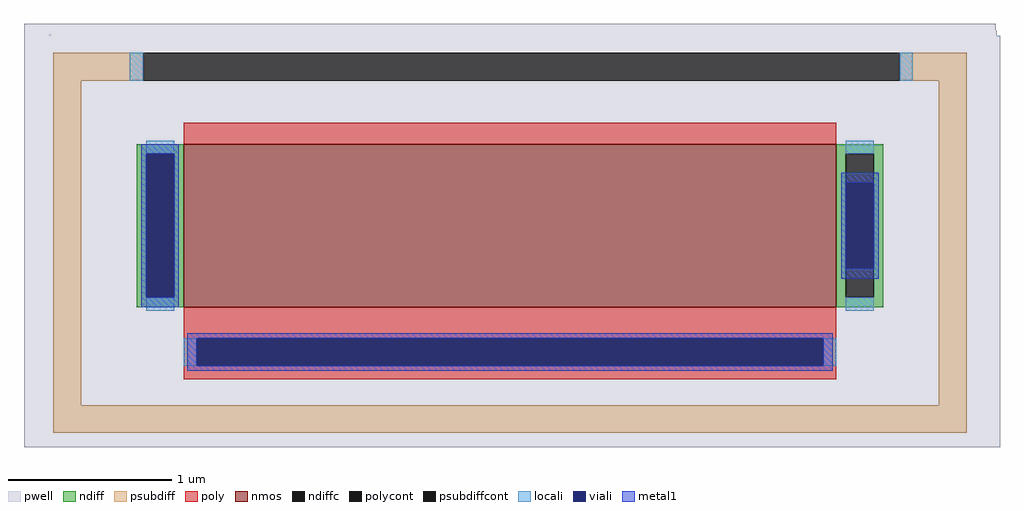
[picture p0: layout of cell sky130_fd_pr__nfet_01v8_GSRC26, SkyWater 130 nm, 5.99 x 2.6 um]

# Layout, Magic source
magic
tech sky130B
magscale 1 2
<< pwell >>
rect -596 271 596 279
rect -596 266 597 271
rect -596 264 -565 266
rect -563 264 597 266
rect -596 -241 601 264
<< nmos >>
rect -400 -69 400 131
<< ndiff >>
rect -458 119 -400 131
rect -458 -57 -446 119
rect -412 -57 -400 119
rect -458 -69 -400 -57
rect 400 119 458 131
rect 400 -57 412 119
rect 446 -57 458 119
rect 400 -69 458 -57
<< ndiffc >>
rect -446 -57 -412 119
rect 412 -57 446 119
<< psubdiff >>
rect -560 209 -450 243
rect 478 209 560 243
rect -560 -189 -526 209
rect 526 -189 560 209
rect -560 -223 560 -189
<< psubdiffcont >>
rect -450 209 478 243
<< poly >>
rect -400 131 400 157
rect -400 -107 400 -69
rect -400 -141 -384 -107
rect 384 -141 400 -107
rect -400 -157 400 -141
<< polycont >>
rect -384 -141 384 -107
<< locali >>
rect -466 209 -450 243
rect 478 209 494 243
rect -446 119 -412 135
rect -446 -73 -412 -57
rect 412 119 446 135
rect 412 -73 446 -57
rect -400 -141 -384 -107
rect 384 -141 400 -107
<< viali >>
rect -446 -57 -412 119
rect 412 -22 446 84
rect -384 -141 384 -107
<< metal1 >>
rect -452 119 -406 131
rect -452 -57 -446 119
rect -412 -57 -406 119
rect 406 84 452 96
rect 406 -22 412 84
rect 446 -22 452 84
rect 406 -34 452 -22
rect -452 -69 -406 -57
rect -396 -107 396 -101
rect -396 -141 -384 -107
rect 384 -141 396 -107
rect -396 -147 396 -141
<< properties >>
string FIXED_BBOX -543 -226 543 226
string gencell sky130_fd_pr__nfet_01v8
string library sky130
string parameters w 1 l 4 m 1 nf 1 diffcov 100 polycov 100 guard 1 glc 0 grc 0 gtc 0 gbc 1 tbcov 100 rlcov 100 topc 0 botc 1 poverlap 0 doverlap 1 lmin 0.15 wmin 0.42 compatible {sky130_fd_pr__nfet_01v8 sky130_fd_pr__nfet_01v8_lvt  sky130_fd_bs_flash__special_sonosfet_star  sky130_fd_pr__nfet_g5v0d10v5 sky130_fd_pr__nfet_05v0_nvt  sky130_fd_pr__nfet_03v3_nvt} full_metal 0 viasrc 60 viadrn 100 viagate 100 viagb 0 viagr 0 viagl 0 viagt 0
<< end >>
